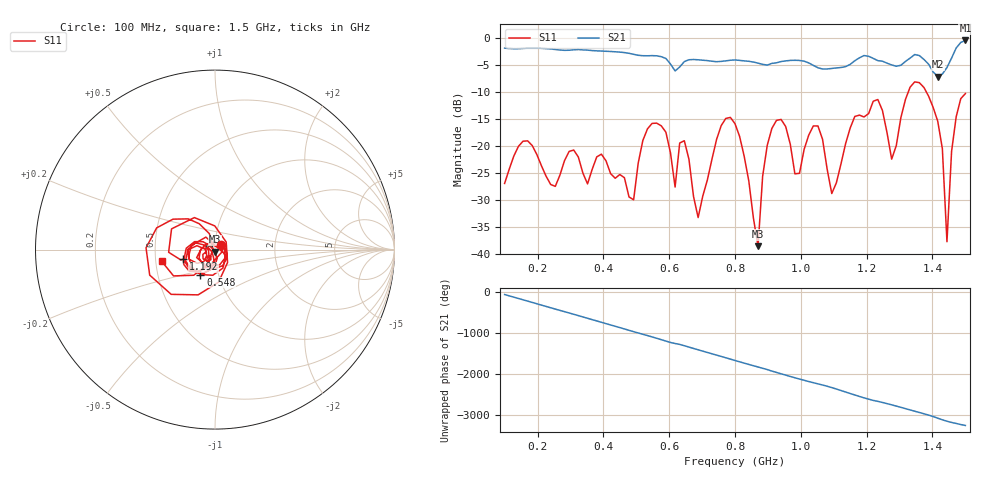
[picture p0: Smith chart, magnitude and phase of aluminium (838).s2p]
! NanoVNA-App
! Date: 2025-09-25 15:01:48
! Start: 100MHz Stop: 1,5GHz Points: 101
! S-Parameter data: F S11 S21 S12 S22
# Hz S RI R 50
!  Frequency  S11_Real  S11_Imag  S21_Real  S21_Imag  S12_Real  S12_Imag  S22_Real  S22_Imag
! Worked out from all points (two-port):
!   101 points, 100 MHz to 1.5 GHz, reference 50 ohm
!   highest |S21| = -0.50 dB at 1.5 GHz (marker M1); lowest = -7.2 dB at 1.416 GHz (marker M2)
!   |S21| within 3 dB of the highest: start of sweep to 575.4 MHz; 1.46 GHz to end of sweep (the widest 2 of 4)
!   lowest |S11| = -38.6 dB at 870 MHz (marker M3), VSWR 1.02, Z = 50 - j1.18 ohm
!   |S11| at or under -10 dB: start of sweep to 1.327 GHz; 1.381 GHz to end of sweep
!   S12 and S22 are empty: the file has one direction only
!   S11 on the Smith chart (normalised r, x): 100 MHz: 1.07, +0.06; 548 MHz: 0.82, -0.23; 1.192 GHz: 0.70, -0.08; 1.5 GHz: 0.54, -0.08
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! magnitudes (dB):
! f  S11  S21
! 100 MHz  -27.0  -1.9
! 156 MHz  -19.1  -2.0
! 338 MHz  -25.1  -2.2
! 492 MHz  -30.0  -3.1
! 548 MHz  -15.9  -3.3
! 576 MHz  -16.3  -3.5
! 618 MHz  -27.6  -6.1
! 646 MHz  -19.1  -4.4
! 688 MHz  -33.3  -4.1
! 800 MHz  -15.9  -4.1
! 870 MHz  -38.6  -4.7
! 912 MHz  -16.8  -4.7
! 982 MHz  -25.2  -4.2
! 1.038 GHz  -16.3  -5.1
! 1.094 GHz  -28.8  -5.7
! 1.192 GHz  -14.7  -3.3
! 1.276 GHz  -22.5  -5.0
! 1.346 GHz  -8.2  -3.1
! 1.416 GHz  -15.4  -7.2
! 1.444 GHz  -37.7  -5.5
! 1.458 GHz  -21.1  -3.8
! 1.5 GHz  -10.3  -0.5
